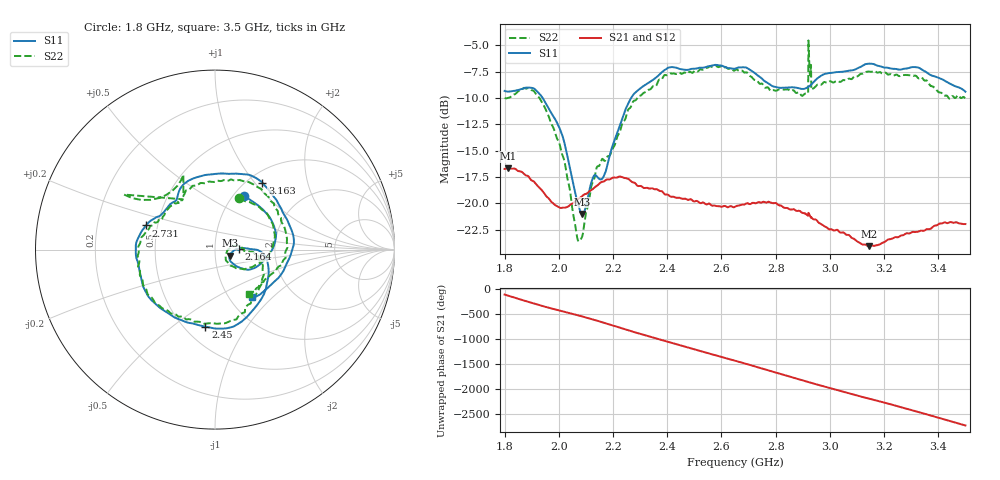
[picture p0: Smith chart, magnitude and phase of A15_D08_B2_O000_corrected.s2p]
! Created with skrf 1.9.0 (http://scikit-rf.org).
# Hz S RI R 50.0
!freq ReS11 ImS11 ReS21 ImS21 ReS12 ImS12 ReS22 ImS22
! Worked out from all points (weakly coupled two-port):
!   1601 points, 1.8 GHz to 3.5 GHz, reference 50 ohm
!   highest |S21| = -16.67 dB at 1.812 GHz (marker M1); lowest = -24.1 dB at 3.144 GHz (marker M2)
!   lowest |S11| = -21.0 dB at 2.087 GHz (marker M3), VSWR 1.20, Z = 58.8 - j4.01 ohm
!   |S11| at or under -10 dB: 1.94 GHz to 2.267 GHz (326.6 MHz wide, 15.5 % of centre)
!   |S22| runs from -23.6 to -4.5 dB; largest |S21 - S12| = 0.0028
!   S11 on the Smith chart (normalised r, x): 1.8 GHz: 1.12, +0.76; 2.164 GHz: 1.31, +0.01; 2.45 GHz: 0.63, -0.66; 2.731 GHz: 0.43, +0.14; 3.163 GHz: 1.16, +1.09; 3.5 GHz: 1.27, -0.76
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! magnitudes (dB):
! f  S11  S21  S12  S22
! 1.8 GHz  -9.3  -16.7  -16.7  -10.0
! 1.812 GHz  -9.4  -16.7  -16.7  -10.0
! 1.887 GHz  -9.0  -17.4  -17.5  -9.1
! 1.942 GHz  -10.1  -18.9  -18.9  -10.6
! 2.011 GHz  -13.4  -20.4  -20.4  -15.3
! 2.067 GHz  -19.7  -19.7  -19.7  -23.1
! 2.084 GHz  -21.0  -19.4  -19.3  -23.3
! 2.087 GHz  -21.0  -19.3  -19.3  -23.1
! 2.127 GHz  -17.5  -18.6  -18.6  -17.9
! 2.164 GHz  -17.5  -17.9  -17.9  -15.9
! 2.263 GHz  -10.2  -17.8  -17.8  -10.9
! 2.367 GHz  -7.9  -18.8  -18.7  -8.4
! 2.45 GHz  -7.3  -19.5  -19.5  -7.7
! 2.65 GHz  -7.2  -20.3  -20.3  -7.4
! 2.731 GHz  -7.8  -20.0  -20.0  -8.3
! 2.9 GHz  -9.2  -20.9  -20.9  -9.8
! 2.922 GHz  -8.9  -21.0  -20.9  -5.3
! 2.934 GHz  -8.7  -21.4  -21.4  -9.2
! 3.144 GHz  -6.8  -24.1  -24.0  -7.5
! 3.163 GHz  -6.8  -24.0  -24.0  -7.4
! 3.217 GHz  -7.2  -23.4  -23.4  -7.8
! 3.5 GHz  -9.4  -22.0  -22.0  -10.1
